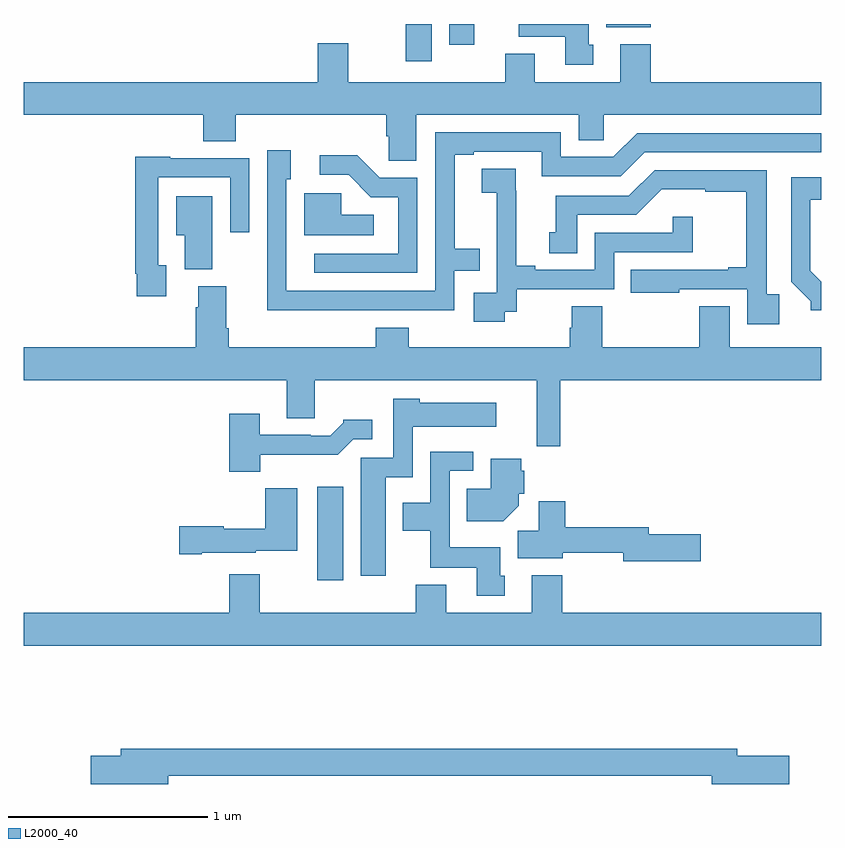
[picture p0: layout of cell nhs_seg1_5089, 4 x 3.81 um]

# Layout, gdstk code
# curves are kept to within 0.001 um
import gdstk
lib = gdstk.Library(unit=1e-6, precision=1e-09)
def R(c, l, rs):  # rectangles x0, y0, x1, y1
    for r in rs: c.add(gdstk.rectangle(r[:2], r[2:], *l))
def P(c, l, *ps):  # polygons
    for p in ps: c.add(gdstk.Polygon(p, *l))
L2000_40 = (2000, 40)

nhs_seg1_5089 = lib.new_cell('nhs_seg1_5089')
R(nhs_seg1_5089, L2000_40, [(388.472,537.408,388.603,537.877), (388.916,540.012,389.047,540.199), (389.135,540.096,389.26,540.199), (389.921,540.182,390.144,540.199)])
P(nhs_seg1_5089, L2000_40, [(389.857,540.096),(389.833,540.096),(389.833,540.199),(389.482,540.199),(389.482,540.134),(389.717,540.134),(389.717,539.994),(389.857,539.994)],
  [(388.969,539.744),(389.783,539.744),(389.783,539.617),(389.91,539.617),(389.91,539.744),(391,539.744),(391,539.908),(390.146,539.908),(390.146,540.097),(389.993,540.097),(389.993,539.908),(389.563,539.908),(389.563,540.049),(389.416,540.049),(389.416,539.908),(388.627,539.908),(388.627,540.103),(388.475,540.103),(388.475,539.908),(387,539.908),(387,539.744),(387.899,539.744),(387.899,539.611),(388.064,539.611),(388.064,539.744),(388.817,539.744),(388.817,539.635),(388.83,539.635),(388.83,539.512),(388.969,539.512)],
  [(388.682,538.764),(389.16,538.764),(389.16,538.962),(389.288,538.962),(389.288,539.071),(389.161,539.071),(389.161,539.544),(389.257,539.544),(389.257,539.559),(389.598,539.559),(389.598,539.436),(389.994,539.436),(390.114,539.556),(391,539.556),(391,539.652),(390.078,539.652),(389.958,539.532),(389.694,539.532),(389.694,539.655),(389.064,539.655),(389.064,538.86),(388.317,538.86),(388.317,539.421),(388.339,539.421),(388.339,539.566),(388.221,539.566),(388.22,538.763)],
  [(388.974,539.427),(388.785,539.427),(388.672,539.54),(388.485,539.54),(388.485,539.442),(388.629,539.442),(388.74,539.331),(388.878,539.331),(388.878,539.046),(388.458,539.046),(388.458,538.95),(388.974,538.95)],
  [(387.715,538.989),(387.675,538.989),(387.675,539.43),(388.035,539.43),(388.035,539.154),(388.131,539.154),(388.131,539.526),(387.735,539.526),(387.735,539.533),(387.559,539.533),(387.559,538.945),(387.567,538.945),(387.567,538.833),(387.715,538.833)],
  [(389.412,538.755),(389.474,538.755),(389.474,538.869),(389.961,538.869),(389.961,539.055),(390.356,539.055),(390.356,539.233),(390.255,539.233),(390.255,539.151),(389.865,539.151),(389.865,538.965),(389.566,538.965),(389.566,538.985),(389.47,538.985),(389.47,539.363),(389.468,539.363),(389.468,539.474),(389.298,539.474),(389.298,539.353),(389.372,539.353),(389.372,539.155),(389.373,539.155),(389.373,538.851),(389.256,538.851),(389.256,538.704),(389.412,538.704)],
  [(390.791,538.843),(390.726,538.843),(390.726,539.466),(390.165,539.466),(390.036,539.337),(389.669,539.337),(389.669,539.154),(389.636,539.154),(389.636,539.05),(389.776,539.05),(389.776,539.241),(390.072,539.241),(390.2,539.369),(390.419,539.369),(390.419,539.358),(390.625,539.358),(390.625,538.978),(390.533,538.978),(390.533,538.965),(390.046,538.965),(390.046,538.85),(390.289,538.85),(390.289,538.869),(390.63,538.869),(390.63,538.692),(390.791,538.692)],
  [(391,538.907),(390.946,538.961),(390.946,539.318),(391,539.318),(391,539.431),(390.849,539.431),(390.849,538.906),(390.948,538.807),(390.948,538.763),(391,538.763)],
  [(388.756,539.242),(388.593,539.242),(388.593,539.349),(388.406,539.349),(388.406,539.138),(388.756,539.138)],
  [(387.946,539.335),(387.764,539.335),(387.764,539.138),(387.806,539.138),(387.806,538.969),(387.946,538.969)],
  [(389.69,538.412),(391,538.412),(391,538.576),(390.541,538.576),(390.541,538.784),(390.389,538.784),(390.389,538.576),(389.903,538.576),(389.903,538.784),(389.75,538.784),(389.75,538.674),(389.738,538.674),(389.738,538.576),(388.931,538.576),(388.931,538.675),(388.766,538.675),(388.766,538.576),(388.028,538.576),(388.028,538.672),(388.015,538.672),(388.015,538.884),(387.875,538.884),(387.875,538.778),(387.863,538.778),(387.863,538.576),(387,538.576),(387,538.412),(388.319,538.412),(388.319,538.222),(388.459,538.222),(388.459,538.412),(389.573,538.412),(389.573,538.08),(389.69,538.08)],
  [(388.816,537.926),(388.95,537.926),(388.95,538.178),(389.371,538.178),(389.371,538.3),(388.986,538.3),(388.986,538.318),(388.854,538.318),(388.854,538.023),(388.691,538.023),(388.691,537.432),(388.816,537.432)],
  [(388.186,538.038),(388.575,538.038),(388.653,538.116),(388.747,538.116),(388.747,538.213),(388.602,538.213),(388.602,538.198),(388.538,538.134),(388.439,538.134),(388.439,538.137),(388.183,538.137),(388.183,538.243),(388.031,538.243),(388.031,537.953),(388.186,537.953)],
  [(389.413,537.432),(389.389,537.432),(389.389,537.574),(389.136,537.574),(389.136,537.957),(389.254,537.957),(389.254,538.053),(389.04,538.053),(389.04,537.796),(388.901,537.796),(388.901,537.656),(389.038,537.656),(389.038,537.47),(389.273,537.47),(389.273,537.33),(389.413,537.33)],
  [(389.482,537.782),(389.482,537.843),(389.511,537.843),(389.511,537.957),(389.495,537.957),(389.495,538.018),(389.342,538.018),(389.342,537.868),(389.221,537.868),(389.221,537.704),(389.404,537.704)],
  [(387.892,537.545),(388.164,537.545),(388.164,537.557),(388.372,537.557),(388.372,537.871),(388.21,537.871),(388.21,537.667),(388.002,537.667),(388.002,537.68),(387.78,537.68),(387.78,537.538),(387.892,537.538)],
  [(390.397,537.638),(390.136,537.638),(390.136,537.674),(389.717,537.674),(389.717,537.805),(389.583,537.805),(389.583,537.656),(389.477,537.656),(389.477,537.518),(389.704,537.518),(389.704,537.546),(390.008,537.546),(390.008,537.503),(390.397,537.503)],
  [(391,537.244),(389.702,537.244),(389.702,537.433),(389.549,537.433),(389.549,537.244),(389.119,537.244),(389.119,537.385),(388.967,537.385),(388.967,537.244),(388.183,537.244),(388.183,537.439),(388.031,537.439),(388.031,537.244),(387,537.244),(387,537.08),(391,537.08)],
  [(387.724,536.428),(390.452,536.428),(390.452,536.386),(390.841,536.386),(390.841,536.528),(390.58,536.528),(390.58,536.564),(387.485,536.564),(387.485,536.528),(387.336,536.528),(387.336,536.386),(387.724,536.386)])

lib.write_gds('nhs_seg1_5089.gds')
